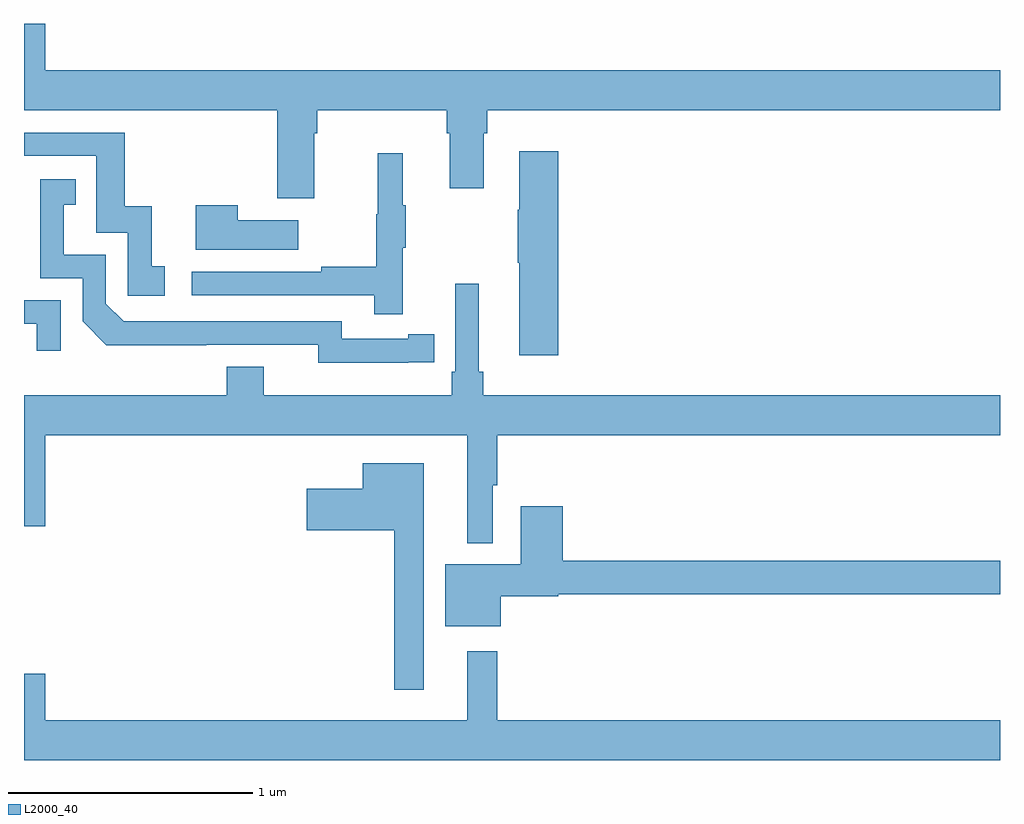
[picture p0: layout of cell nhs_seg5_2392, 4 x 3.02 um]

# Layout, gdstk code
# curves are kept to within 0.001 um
import gdstk
lib = gdstk.Library(unit=1e-6, precision=1e-09)
def P(c, l, *ps):  # polygons
    for p in ps: c.add(gdstk.Polygon(p, *l))
L2000_40 = (2000, 40)

nhs_seg5_2392 = lib.new_cell('nhs_seg5_2392')
P(nhs_seg5_2392, L2000_40, [(250.189,901.952),(250.202,901.952),(250.202,902.048),(250.733,902.048),(250.733,901.952),(250.745,901.952),(250.745,901.728),(250.885,901.728),(250.885,901.952),(250.898,901.952),(250.898,902.048),(253,902.048),(253,902.212),(249.088,902.212),(249.088,902.401),(249,902.401),(249,902.048),(250.037,902.048),(250.037,901.686),(250.189,901.686)],
  [(249.577,901.407),(249.524,901.407),(249.524,901.654),(249.413,901.654),(249.413,901.956),(249,901.956),(249,901.86),(249.297,901.86),(249.297,901.545),(249.426,901.545),(249.426,901.287),(249.577,901.287)],
  [(251.189,901.879),(251.03,901.879),(251.03,901.64),(251.023,901.64),(251.023,901.423),(251.03,901.423),(251.03,901.044),(251.189,901.044)],
  [(250.553,901.483),(250.564,901.483),(250.564,901.657),(250.553,901.657),(250.553,901.87),(250.45,901.87),(250.45,901.62),(250.443,901.62),(250.443,901.406),(250.219,901.406),(250.219,901.386),(249.687,901.386),(249.687,901.29),(250.435,901.29),(250.435,901.212),(250.553,901.212)],
  [(250.574,901.014),(250.682,901.014),(250.682,901.13),(250.574,901.13),(250.574,901.11),(250.302,901.11),(250.302,901.182),(249.408,901.182),(249.336,901.254),(249.336,901.455),(249.163,901.455),(249.163,901.659),(249.212,901.659),(249.212,901.765),(249.066,901.765),(249.066,901.359),(249.24,901.359),(249.24,901.182),(249.338,901.085),(250.206,901.086),(250.206,901.013)],
  [(250.123,901.597),(249.875,901.597),(249.875,901.657),(249.704,901.657),(249.704,901.475),(250.123,901.475)],
  [(250.921,900.511),(250.939,900.511),(250.939,900.716),(253,900.716),(253,900.88),(250.883,900.88),(250.883,900.976),(250.864,900.976),(250.864,901.336),(250.767,901.336),(250.767,900.976),(250.754,900.976),(250.754,900.88),(249.982,900.88),(249.982,900.997),(249.83,900.997),(249.83,900.88),(249,900.88),(249,900.342),(249.088,900.342),(249.088,900.716),(250.817,900.716),(250.817,900.272),(250.921,900.272)],
  [(249.15,901.269),(249,901.269),(249,901.173),(249.053,901.173),(249.053,901.062),(249.15,901.062)],
  [(250.639,900.601),(250.388,900.601),(250.388,900.496),(250.158,900.496),(250.158,900.326),(250.518,900.326),(250.518,899.673),(250.639,899.673)],
  [(250.954,900.056),(251.19,900.056),(251.19,900.064),(253,900.064),(253,900.2),(251.207,900.2),(251.207,900.424),(251.036,900.424),(251.036,900.187),(250.727,900.187),(250.727,899.933),(250.954,899.933)],
  [(253,899.548),(250.939,899.548),(250.939,899.83),(250.817,899.83),(250.817,899.548),(249.088,899.548),(249.088,899.737),(249,899.737),(249,899.384),(253,899.384)])

lib.write_gds('nhs_seg5_2392.gds')
